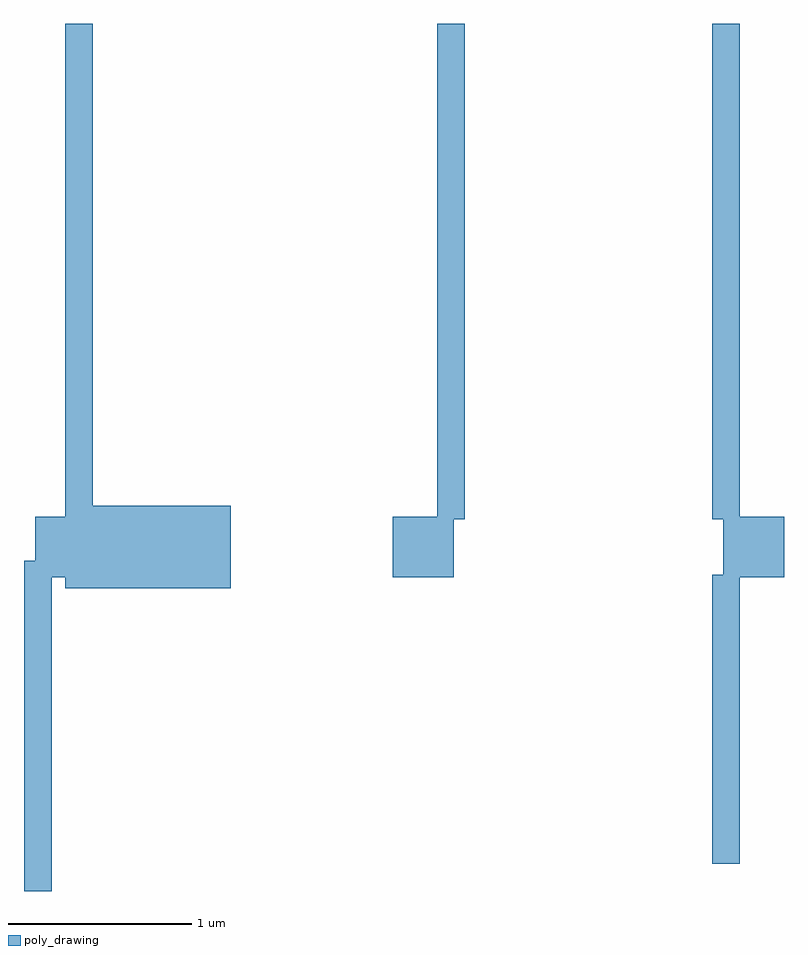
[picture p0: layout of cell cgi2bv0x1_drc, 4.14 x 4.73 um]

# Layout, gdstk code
import gdstk
lib = gdstk.Library(unit=1e-6, precision=5e-09)
def R(c, l, rs):  # rectangles x0, y0, x1, y1
    for r in rs: c.add(gdstk.rectangle(r[:2], r[2:], *l))
poly_drawing = (66, 20)

cgi2bv0x1_drc = lib.new_cell('cgi2bv0x1_drc')
R(cgi2bv0x1_drc, poly_drawing, [(0.675,0.525,0.825,2.325), (0.675,0.525,0.825,2.325), (0.675,0.525,0.825,2.325), (0.675,0.525,0.825,2.325), (0.675,0.525,0.825,2.325), (0.675,0.525,0.825,2.325), (4.425,0.675,4.575,2.25), (4.425,0.675,4.575,2.25), (0.9,2.175,1.05,5.25), (0.9,2.175,1.05,5.25), (0.9,2.175,1.8,2.625), (0.9,2.175,1.8,2.625), (0.735,2.235,1.8,2.565), (0.735,2.235,1.8,2.565), (2.685,2.235,3.015,2.565), (2.685,2.235,3.015,2.565), (4.485,2.235,4.815,2.565), (4.485,2.235,4.815,2.565), (4.485,2.235,4.815,2.565), (4.485,2.235,4.815,2.565), (2.925,2.55,3.075,5.25), (2.925,2.55,3.075,5.25), (4.425,2.55,4.575,5.25), (4.425,2.55,4.575,5.25)])

lib.write_gds('cgi2bv0x1_drc.gds')
